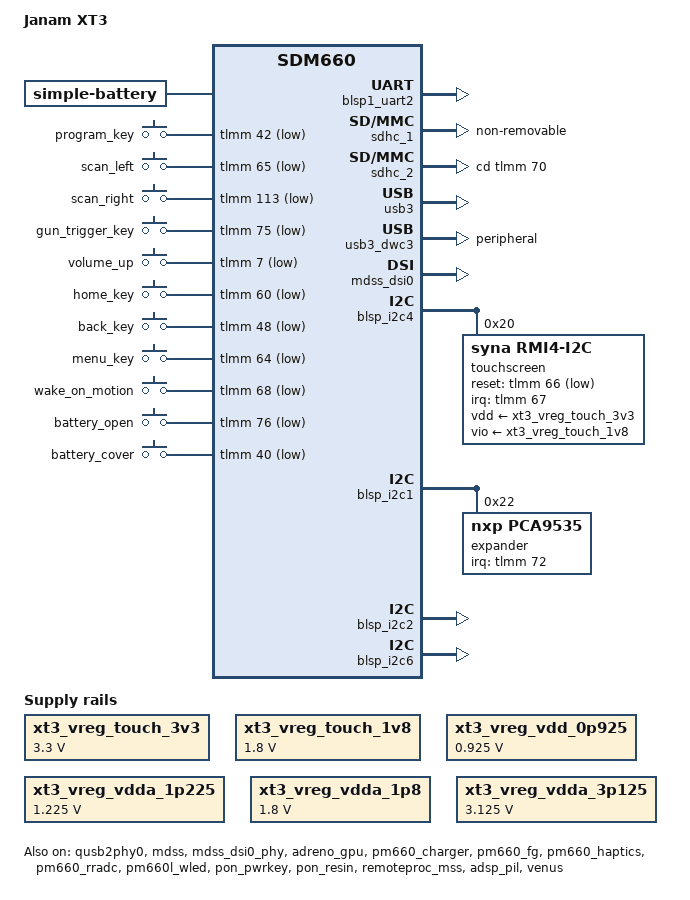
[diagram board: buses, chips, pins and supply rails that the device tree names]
// SPDX-License-Identifier: GPL-2.0-only
/*
 * Janam XT3 (Qualcomm SDA660) - mainline bring-up
 *
 * All values below come from one of:
 *   out/fota/dtbo/dtb/*.dts        stock 91.57 device tree overlays
 *   inventory-data/                live inventory from the device
 *   docs/02-enhetsmatris.md        Janam XT3 User Manual
 *
 * Nothing here is invented.  Where the stock DTB does not give a value the
 * line says TODO and the node stays disabled, so a wrong guess can never
 * brown out a rail or claim a bus that belongs to another device.
 *
 * Confirmed from the stock overlays:
 *   panel     JD9365DA 720p video (bekraftat: /sys/class/graphics/fb0/
 *             msm_fb_panel_info -> panel_name=jd9365da 720p video mode
 *             dsi panel), reset tlmm 53, TE tlmm 59, enable tlmm 8
 *   touch     Synaptics RMI4 @ i2c4 0x20, irq tlmm 67, reset tlmm 66
 *             (Goodix GT1x is the second source on the same pins, 0x14)
 *   expander  PCA9535 @ i2c1 0x22, irq tlmm 72, drives SAM control lines
 *   gauge     CW2015 @ i2c2 0x62, charge status tlmm 45
 *   NFC       PN54x @ i2c6 0x28, irq 28, ven 29, firm 30, clkreq pm660 gpio 4
 *   scanner   HSM imager @ i2c8 0x18, CSI2 port 2, 2 lanes, 11 GPIOs
 *   MSR       Wiznova MMD1000 on BLSP1 QUP3 SPI, irq 83, reset 63
 *   SAM       TDA8029 x2 behind PCA9535, card mux via sgm6503b
 *   keys      battery-open tlmm 76, battery-cover tlmm 40
 *   SD card   card detect tlmm 70
 */

/dts-v1/;

#include "sdm660.dtsi"
#include "pm660.dtsi"
#include "pm660l.dtsi"

#include <dt-bindings/gpio/gpio.h>
#include <dt-bindings/input/linux-event-codes.h>
#include <dt-bindings/interrupt-controller/irq.h>

/* Generated by scripts/13-panel-from-dtb.py.  See that file for provenance. */
#include "panel-janam-xt3.dtsi"

/ {
        model = "Janam XT3";
        compatible = "janam,xt3", "qcom,sda660";
        chassis-type = "handset";

        /*
         * Qualcomm-ABL validerar dessa tre innan den hoppar till kärnan.
         * Värdena är lästa ur enhetens egen boot-DTB (91.57, from-boot.dtb),
         * inte gissade. Stock-DTB:n har msm-id och pmic-id men INGEN
         * board-id - den hor till dtbo-varianten, och en felaktig board-id
         * kan fa ABL att matcha fel och vagra.
         */
        qcom,msm-id = <0x144 0x00>;
        qcom,pmic-id = <0x1001b 0x101011a 0x00 0x00
                        0x1001b 0x201011a 0x00 0x00
                        0x1001b 0x102001a 0x00 0x00>;

        /*
         * ABL fyller i reg på /memory innan den hoppar till kärnan. Noden
         * måste finnas - stock-DTB:n har den utan reg. Utan nod får kärnan
         * ingen RAM alls.
         */
        memory {
                device_type = "memory";
        };

        /*
         * ABL lamnar kvar sin splash-framebuffer pa 0x9d400000
         * (cont_splash_mem, 0x2300000 byte i stock-DTB:n). Genom att
         * beskriva den som simple-framebuffer tar simpledrm over den och vi
         * far textkonsol pa skarmen - enda loggkanalen utan UART.
         * 720x1280 ARGB8888 -> stride 2880, 0x384000 byte.
         */
        reserved-memory {
                #address-cells = <2>;
                #size-cells = <2>;
                ranges;

                splash_region: splash@9d400000 {
                        reg = <0x0 0x9d400000 0x0 0x2300000>;
                        label = "cont_splash_mem";
                };
        };

        framebuffer@9d400000 {
                compatible = "simple-framebuffer";
                reg = <0x0 0x9d400000 0x0 0x384000>;
                width = <720>;
                height = <1280>;
                stride = <2880>;
                format = "a8r8g8b8";
        };

        aliases {
                serial0 = &blsp1_uart2;
        };

        chosen {
                stdout-path = "serial0:115200n8";
        };

        battery: battery {
                compatible = "simple-battery";
                /*
                 * Measured on the device (inventory 33-battery.txt):
                 * 4340 mV at 100 %, charge counter 2.84 Ah.
                 */
                charge-full-design-microamp-hours = <3000000>;
                voltage-min-design-microvolt = <3400000>;
                voltage-max-design-microvolt = <4350000>;
        };

        /*
         * Placeholder rails for the touch controller.  The bootloader leaves
         * them on; these nodes only let the driver enable/disable without
         * touching the PMIC.  Replace with the real PM660 L3 / L11 regulator
         * nodes once from-boot.dtb gives the voltages.
         */
        xt3_vreg_touch_3v3: regulator-touch-3v3 {
                compatible = "regulator-fixed";
                regulator-name = "xt3_touch_3v3";
                regulator-min-microvolt = <3300000>;
                regulator-max-microvolt = <3300000>;
                regulator-always-on;
                regulator-boot-on;
        };

        xt3_vreg_touch_1v8: regulator-touch-1v8 {
                compatible = "regulator-fixed";
                regulator-name = "xt3_touch_1v8";
                regulator-min-microvolt = <1800000>;
                regulator-max-microvolt = <1800000>;
                regulator-always-on;
                regulator-boot-on;
        };

        /*
         * SoC-mandated PHY rails.  The voltages come from the SDM660 data
         * sheet, not from the board, so they are safe to describe before the
         * PMIC mapping is known.  They are always-on placeholders: the
         * bootloader already enabled them and these nodes never write to the
         * PMIC.  Replace with the real PM660 regulators once from-boot.dtb
         * tells which LDO feeds each rail.
         */
        xt3_vreg_vdd_0p925: regulator-vdd-0p925 {
                compatible = "regulator-fixed";
                regulator-name = "xt3_vdd_0p925";
                regulator-min-microvolt = <925000>;
                regulator-max-microvolt = <925000>;
                regulator-always-on;
                regulator-boot-on;
        };

        xt3_vreg_vdda_1p225: regulator-vdda-1p225 {
                compatible = "regulator-fixed";
                regulator-name = "xt3_vdda_1p225";
                regulator-min-microvolt = <1225000>;
                regulator-max-microvolt = <1225000>;
                regulator-always-on;
                regulator-boot-on;
        };

        xt3_vreg_vdda_1p8: regulator-vdda-1p8 {
                compatible = "regulator-fixed";
                regulator-name = "xt3_vdda_1p8";
                regulator-min-microvolt = <1800000>;
                regulator-max-microvolt = <1800000>;
                regulator-always-on;
                regulator-boot-on;
        };

        xt3_vreg_vdda_3p125: regulator-vdda-3p125 {
                compatible = "regulator-fixed";
                regulator-name = "xt3_vdda_3p125";
                regulator-min-microvolt = <3125000>;
                regulator-max-microvolt = <3125000>;
                regulator-always-on;
                regulator-boot-on;
        };

        gpio-keys {
                compatible = "gpio-keys";
                label = "gpio-keys";

                /*
                 * Key map from the stock base DTB (keypad node in
                 * from-boot.dtb).  Codes are the vendor's own linux,code
                 * values.  528, 546, 766 and 1023 have no mainline name, so
                 * they stay numeric and are mapped by xt3-gpiod.
                 * Polarity is assumed active-low (pull-up, press to ground),
                 * which is what every QRD keypad uses; verify with evtest.
                 */
                program-key {
                        label = "program_key";
                        gpios = <&tlmm 42 GPIO_ACTIVE_LOW>;
                        linux,code = <528>;
                        debounce-interval = <15>;
                };

                scan-left {
                        label = "scan_left";
                        gpios = <&tlmm 65 GPIO_ACTIVE_LOW>;
                        linux,code = <546>;
                        debounce-interval = <15>;
                };

                scan-right {
                        label = "scan_right";
                        gpios = <&tlmm 113 GPIO_ACTIVE_LOW>;
                        linux,code = <766>;
                        debounce-interval = <15>;
                };

                gun-trigger {
                        label = "gun_trigger_key";
                        gpios = <&tlmm 75 GPIO_ACTIVE_LOW>;
                        linux,code = <223>;
                        debounce-interval = <15>;
                };

                volume-up {
                        label = "volume_up";
                        gpios = <&tlmm 7 GPIO_ACTIVE_LOW>;
                        linux,code = <KEY_VOLUMEUP>;
                        debounce-interval = <15>;
                };

                key-home {
                        label = "home_key";
                        gpios = <&tlmm 60 GPIO_ACTIVE_LOW>;
                        linux,code = <KEY_HOMEPAGE>;
                        debounce-interval = <15>;
                };

                key-back {
                        label = "back_key";
                        gpios = <&tlmm 48 GPIO_ACTIVE_LOW>;
                        linux,code = <KEY_BACK>;
                        debounce-interval = <15>;
                };

                key-menu {
                        label = "menu_key";
                        gpios = <&tlmm 64 GPIO_ACTIVE_LOW>;
                        linux,code = <KEY_MENU>;
                        debounce-interval = <15>;
                };

                wake-on-motion {
                        label = "wake_on_motion";
                        gpios = <&tlmm 68 GPIO_ACTIVE_LOW>;
                        linux,code = <1023>;
                        debounce-interval = <15>;
                        wakeup-source;
                };

                /* Switches added by the stock overlay (dtbo). */
                battery-open {
                        label = "battery_open";
                        gpios = <&tlmm 76 GPIO_ACTIVE_LOW>;
                        linux,input-type = <EV_SW>;
                        linux,code = <0x1f>;      /* vendor specific switch */
                        debounce-interval = <15>;
                        wakeup-source;
                };

                battery-cover {
                        label = "battery_cover";
                        gpios = <&tlmm 40 GPIO_ACTIVE_LOW>;
                        linux,input-type = <EV_SW>;
                        linux,code = <SW_MACHINE_COVER>;
                        debounce-interval = <15>;
                };
        };
};

/* --- Console / debug ------------------------------------------------- */
&blsp1_uart2 {
        status = "okay";
};

/* --- Storage -------------------------------------------------------- */
&sdhc_1 {
        status = "okay";
        non-removable;
        /* TODO: vmmc-supply / vqmmc-supply from from-boot.dtb */
};

&sdhc_2 {
        status = "okay";
        cd-gpios = <&tlmm 70 GPIO_ACTIVE_HIGH>;
        /* TODO: vmmc-supply / vqmmc-supply from from-boot.dtb */
};

/* --- USB (adb/fastboot + external RF88/MSR sled) --------------------- */
&usb3 {
        status = "okay";
};

&usb3_dwc3 {
        dr_mode = "peripheral";
};

&qusb2phy0 {
        vdd-supply = <&xt3_vreg_vdd_0p925>;
        vdda-pll-supply = <&xt3_vreg_vdda_1p8>;
        vdda-phy-dpdm-supply = <&xt3_vreg_vdda_3p125>;
        status = "okay";
};

/* --- Display / GPU -------------------------------------------------- */
&mdss {
        status = "okay";
};

&mdss_dsi0 {
        vdd-supply = <&xt3_vreg_vdd_0p925>;
        vdda-supply = <&xt3_vreg_vdda_1p225>;
        status = "okay";
};

&mdss_dsi0_phy {
        vcca-supply = <&xt3_vreg_vdd_0p925>;
        status = "okay";
};

&adreno_gpu {
        status = "okay";
};

&mmss_smmu {
        status = "okay";
};

/* --- Touch (Synaptics RMI4, second source Goodix GT1x) -------------- */
&blsp_i2c4 {
        status = "okay";

        touchscreen@20 {
                compatible = "syna,rmi4-i2c";
                reg = <0x20>;

                interrupt-parent = <&tlmm>;
                interrupts = <67 IRQ_TYPE_LEVEL_LOW>;

                reset-gpios = <&tlmm 66 GPIO_ACTIVE_LOW>;
                vdd-supply = <&xt3_vreg_touch_3v3>;
                vio-supply = <&xt3_vreg_touch_1v8>;
                syna,startup-delay-ms = <100>;

                #address-cells = <1>;
                #size-cells = <0>;

                rmi4-f01@1 {
                        reg = <0x1>;
                        syna,nosleep-mode = <1>;
                };

                rmi4-f12@12 {
                        reg = <0x12>;
                        syna,sensor-type = <1>;
                };
        };
};

/* --- GPIO expander that owns the SAM control lines ------------------ */
&blsp_i2c1 {
        status = "okay";

        expander: gpio@22 {
                compatible = "nxp,pca9535";
                reg = <0x22>;

                gpio-controller;
                #gpio-cells = <2>;
                interrupt-controller;
                #interrupt-cells = <2>;

                interrupt-parent = <&tlmm>;
                interrupts = <72 IRQ_TYPE_LEVEL_LOW>;
        };
};

/* --- Fuel gauge ----------------------------------------------------- */
&blsp_i2c2 {
        status = "okay";

        fuel-gauge@62 {
                compatible = "cellwise,cw2015";
                reg = <0x62>;
                status = "disabled";
                /* TODO: cellwise,battery-profile + chg-sts gpio 45 */
        };
};

/* --- NFC (PN54x) ---------------------------------------------------- */
&blsp_i2c6 {
        status = "okay";

        nfc@28 {
                compatible = "nxp,pn544-i2c";
                reg = <0x28>;
                status = "disabled";

                interrupt-parent = <&tlmm>;
                interrupts = <28 IRQ_TYPE_LEVEL_LOW>;

                enable-gpios = <&tlmm 29 GPIO_ACTIVE_HIGH>;
                firmware-gpios = <&tlmm 30 GPIO_ACTIVE_HIGH>;

                /* TODO: ref_clk (vendor uses BBCLK3) + rails */
        };
};

/* --- Power / charger ------------------------------------------------ */
&pm660_charger {
        monitored-battery = <&battery>;
        status = "okay";
};

&pm660_fg {
        monitored-battery = <&battery>;
        power-supplies = <&pm660_charger>;
        status = "okay";
};

&pm660_haptics {
        status = "okay";
};

&pm660_rradc {
        status = "okay";
};

&pm660l_wled {
        status = "okay";
};

&pon_pwrkey {
        status = "okay";
};

&pon_resin {
        linux,code = <KEY_VOLUMEDOWN>;
        status = "okay";
};

/* --- Radios: enable after the rails are read from from-boot.dtb ------ */
&wifi {
        status = "disabled";
        /* TODO: vdd-0.8-cx-mx, vdd-1.8-xo, vdd-1.3-rfa, vdd-3.3-ch0 */
};

&remoteproc_mss {
        status = "okay";
        firmware-name = "qcom/mba.mbn", "qcom/modem.mdt";
};

&adsp_pil {
        status = "okay";
};

&venus {
        status = "okay";
};

/*
 * --- Not yet representable in mainline ------------------------------
 *
 * scanner: hsm,imager on i2c8 @0x18, CSI2 port 2, 2 lanes.
 *   GPIOs: power-en 1, aimer 2, illuminator 3, engine-reset 4,
 *          3v3-laser 5, 3v3-imager 6, flash-out 7, level-shift-3v3-en 8,
 *          scan-io-level-shift-en 9, i2c-level-shift-en 10, scan-buf-dir 11
 *          (all on &pm660l_gpios, from the stock overlay).
 *   Needs a V4L2 subdev driver plus camss capture.  The decode runs in
 *   userspace on the CSI frames; this is not a serial scanner.
 *
 * MSR: wiznova,mmd1000 on BLSP1 QUP3 SPI (0xc177000), max 960 kHz,
 *   vdd-3p3-en pm660 gpio 6, irq tlmm 83, reset tlmm 63.
 *   Mainline has no SPI controller node for QUP3 yet; add one and bind
 *   spidev until the MMD1000 protocol driver exists.
 *
 * SAM: two TDA8029 smart card interfaces behind the PCA9535
 *   (enable/shutdown/reset on expander lines 0/5/4, irq tlmm 43,
 *   card mux sgm6503b select on expander line 3).  TDA8029 is a UART
 *   device; the UART instance is in the base DTB.
 *
 * RFID: RF88 is an external USB sled (ttyACM / ttyXRUSB), no on-board part.
 */
